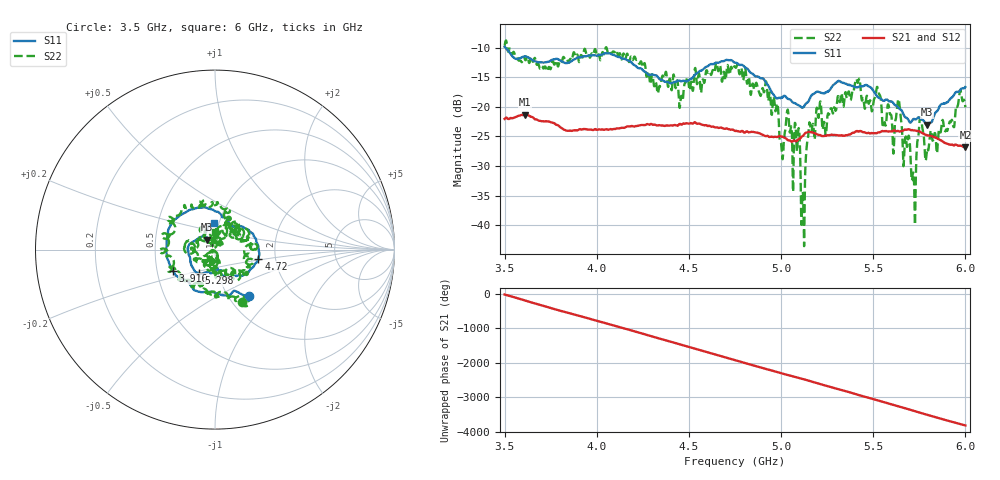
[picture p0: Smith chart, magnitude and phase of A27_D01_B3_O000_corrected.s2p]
! Created with skrf 1.9.0 (http://scikit-rf.org).
# Hz S RI R 50.0
!freq ReS11 ImS11 ReS21 ImS21 ReS12 ImS12 ReS22 ImS22
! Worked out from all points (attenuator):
!   1601 points, 3.5 GHz to 6 GHz, reference 50 ohm
!   highest |S21| = -21.36 dB at 3.611 GHz (marker M1); lowest = -26.8 dB at 6 GHz (marker M2)
!   lowest |S11| = -23.0 dB at 5.791 GHz (marker M3), VSWR 1.15, Z = 45.5 + j5.08 ohm
!   |S11| at or under -10 dB: 3.504 GHz to end of sweep
!   |S22| runs from -43.5 to -8.8 dB; largest |S21 - S12| = 0.0013
!   S11 on the Smith chart (normalised r, x): 3.5 GHz: 1.25, -0.71; 3.916 GHz: 0.61, -0.15; 4.72 GHz: 1.63, -0.17; 5.298 GHz: 0.81, -0.22; 6 GHz: 0.95, +0.28
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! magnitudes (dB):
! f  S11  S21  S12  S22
! 3.5 GHz  -9.9  -22.0  -22.0  -9.7
! 3.611 GHz  -11.5  -21.4  -21.4  -12.1
! 3.916 GHz  -11.6  -23.8  -23.8  -11.3
! 3.917 GHz  -11.6  -23.8  -23.8  -11.3
! 4.334 GHz  -15.1  -23.1  -23.1  -17.4
! 4.72 GHz  -12.1  -23.8  -23.8  -14.6
! 4.75 GHz  -12.6  -24.1  -24.0  -13.3
! 4.97 GHz  -18.5  -25.1  -25.0  -20.8
! 5.003 GHz  -18.5  -25.0  -25.1  -27.2
! 5.031 GHz  -18.5  -25.5  -25.4  -21.1
! 5.088 GHz  -19.6  -25.7  -25.7  -27.1
! 5.119 GHz  -20.1  -24.9  -24.8  -34.6
! 5.145 GHz  -19.2  -24.3  -24.3  -25.2
! 5.167 GHz  -18.0  -24.3  -24.3  -23.8
! 5.298 GHz  -15.9  -24.8  -24.8  -20.6
! 5.416 GHz  -16.7  -24.1  -24.2  -16.0
! 5.584 GHz  -19.0  -24.2  -24.2  -19.9
! 5.641 GHz  -20.3  -24.2  -24.1  -19.2
! 5.719 GHz  -22.1  -24.0  -24.0  -31.4
! 5.753 GHz  -21.9  -24.2  -24.2  -22.2
! 5.791 GHz  -23.0  -24.8  -24.7  -27.5
! 6 GHz  -16.7  -26.8  -26.8  -20.1
